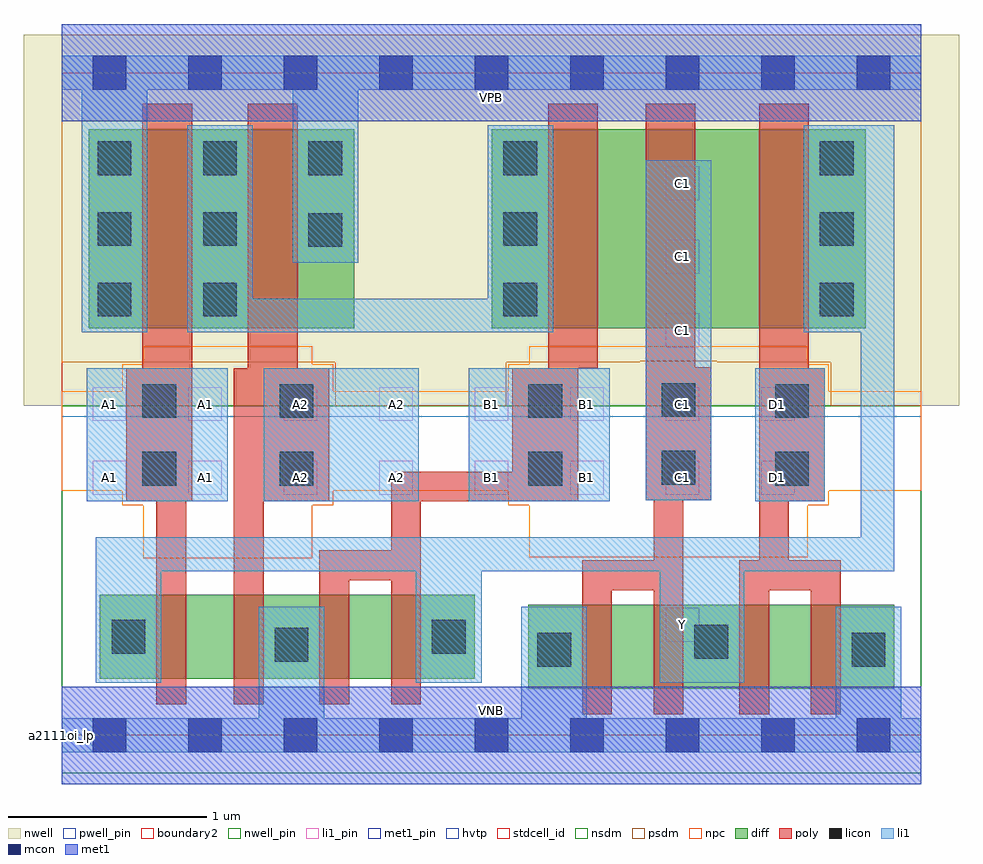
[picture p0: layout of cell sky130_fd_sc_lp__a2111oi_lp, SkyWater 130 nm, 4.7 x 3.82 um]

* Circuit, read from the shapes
.subckt sky130_fd_sc_lp__a2111oi_lp A1 A2 B1 C1 D1 VGND VNB VPB VPWR Y
XM1 n1 A1 Y VNB sky130_fd_pr__nfet_01v8 w=0.42 l=0.15
XM2 VGND A2 n1 VNB sky130_fd_pr__nfet_01v8 w=0.42 l=0.15
XM3 n2 B1 VGND VNB sky130_fd_pr__nfet_01v8 w=0.42 l=0.15
XM4 Y B1 n2 VNB sky130_fd_pr__nfet_01v8 w=0.42 l=0.15
XM5 n3 C1 VGND VNB sky130_fd_pr__nfet_01v8 w=0.42 l=0.15
XM6 Y C1 n3 VNB sky130_fd_pr__nfet_01v8 w=0.42 l=0.15
XM7 n4 D1 Y VNB sky130_fd_pr__nfet_01v8 w=0.42 l=0.15
XM8 VGND D1 n4 VNB sky130_fd_pr__nfet_01v8 w=0.42 l=0.15
XM9 n5 A1 VPWR VPB sky130_fd_pr__pfet_01v8_hvt w=1 l=0.25
XM10 VPWR A2 n5 VPB sky130_fd_pr__pfet_01v8_hvt w=1 l=0.25
XM11 n6 B1 n5 VPB sky130_fd_pr__pfet_01v8_hvt w=1 l=0.25
XM12 n7 C1 n6 VPB sky130_fd_pr__pfet_01v8_hvt w=1 l=0.25
XM13 Y D1 n7 VPB sky130_fd_pr__pfet_01v8_hvt w=1 l=0.25
.ends

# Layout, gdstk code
import gdstk
lib = gdstk.Library(unit=1e-6, precision=1e-09)
def R(c, l, rs):  # rectangles x0, y0, x1, y1
    for r in rs: c.add(gdstk.rectangle(r[:2], r[2:], *l))
def A(c, l, x, y, w, h, nx, ny, dx, dy):  # array of equal rectangles
    R(c, l, [(x+i*dx, y+j*dy, x+i*dx+w, y+j*dy+h) for i in range(nx) for j in range(ny)])
def P(c, l, *ps):  # polygons
    for p in ps: c.add(gdstk.Polygon(p, *l))
nwell_pin = (64, 16)
nwell = (64, 20)
diff = (65, 20)
poly = (66, 20)
licon = (66, 44)
li1_pin = (67, 16)
li1 = (67, 20)
mcon = (67, 44)
met1_pin = (68, 16)
met1 = (68, 20)
hvtp = (78, 44)
stdcell_id = (81, 4)
nsdm = (93, 44)
psdm = (94, 20)
npc = (95, 20)
pwell_pin = (122, 16)
boundary2 = (236, 0)

sky130_fd_sc_lp__a2111oi = lib.new_cell('sky130_fd_sc_lp__a2111oi_lp')
R(sky130_fd_sc_lp__a2111oi, nwell_pin, [(0,3.085,4.32,3.33)])
R(sky130_fd_sc_lp__a2111oi, nwell, [(-0.19,1.655,4.51,3.52)])
R(sky130_fd_sc_lp__a2111oi, diff, [(2.345,0.235,4.185,0.655), (0.19,0.285,2.075,0.705), (0.135,2.045,1.47,3.045), (2.16,2.045,4.04,3.045)])
P(sky130_fd_sc_lp__a2111oi, poly, [(0.655,3.175),(0.405,3.175),(0.405,1.845),(0.325,1.845),(0.325,1.175),(0.475,1.175),(0.475,0.155),(0.625,0.155),(0.625,1.175),(0.655,1.175)],
  [(1.345,1.845),(1.185,1.845),(1.185,3.175),(0.935,3.175),(0.935,1.845),(0.865,1.845),(0.865,0.155),(1.015,0.155),(1.015,1.175),(1.345,1.175)],
  [(2.695,3.175),(2.445,3.175),(2.445,1.845),(2.265,1.845),(2.265,1.325),(1.655,1.325),(1.655,0.93),(1.295,0.93),(1.295,0.155),(1.445,0.155),(1.445,0.78),(1.655,0.78),(1.655,0.155),(1.805,0.155),(1.805,1.175),(2.595,1.175),(2.595,1.845),(2.695,1.845)],
  [(3.265,1.85),(3.185,1.85),(3.185,3.175),(2.935,3.175),(2.935,1.18),(2.975,1.18),(2.975,0.88),(2.615,0.88),(2.615,0.105),(2.765,0.105),(2.765,0.73),(2.975,0.73),(2.975,0.105),(3.125,0.105),(3.125,1.18),(3.265,1.18)],
  [(3.915,0.88),(3.655,0.88),(3.655,1.175),(3.835,1.175),(3.835,1.845),(3.755,1.845),(3.755,3.175),(3.505,3.175),(3.505,0.88),(3.405,0.88),(3.405,0.105),(3.555,0.105),(3.555,0.73),(3.765,0.73),(3.765,0.105),(3.915,0.105)])
A(sky130_fd_sc_lp__a2111oi, licon, 2.22, 2.105, 0.17, 0.17, 1, 3, 0, 0.355)
A(sky130_fd_sc_lp__a2111oi, licon, 3.81, 2.105, 0.17, 0.17, 1, 3, 0, 0.355)
A(sky130_fd_sc_lp__a2111oi, licon, 0.18, 2.815, 0.17, 0.17, 3, 1, 0.53, 0)
R(sky130_fd_sc_lp__a2111oi, licon, [(2.39,0.345,2.56,0.515), (3.97,0.345,4.14,0.515), (1.07,0.37,1.24,0.54), (3.18,0.385,3.35,0.555), (0.25,0.41,0.42,0.58), (1.86,0.41,2.03,0.58), (0.405,1.255,0.575,1.425), (1.095,1.255,1.265,1.425), (2.345,1.255,2.515,1.425), (3.585,1.255,3.755,1.425), (3.015,1.26,3.185,1.43), (0.405,1.595,0.575,1.765), (1.095,1.595,1.265,1.765), (2.345,1.595,2.515,1.765), (3.585,1.595,3.755,1.765), (3.015,1.6,3.185,1.77), (0.18,2.105,0.35,2.275), (0.71,2.105,0.88,2.275), (1.24,2.455,1.41,2.625), (0.18,2.46,0.35,2.63), (0.71,2.46,0.88,2.63)])
A(sky130_fd_sc_lp__a2111oi, li1_pin, 0.155, 1.21, 0.17, 0.17, 8, 2, 0.48, 0.37)
A(sky130_fd_sc_lp__a2111oi, li1_pin, 3.035, 1.95, 0.17, 0.17, 1, 3, 0, 0.37)
R(sky130_fd_sc_lp__a2111oi, li1_pin, [(3.035,0.47,3.205,0.64)])
R(sky130_fd_sc_lp__a2111oi, li1, [(0.125,1.175,0.835,1.845), (1.015,1.175,1.795,1.845), (2.045,1.175,2.755,1.845), (3.485,1.175,3.835,1.845), (2.935,1.18,3.265,2.89)])
P(sky130_fd_sc_lp__a2111oi, li1, [(0.1,2.025),(0.1,3.245),(0,3.245),(0,3.415),(4.32,3.415),(4.32,3.245),(1.49,3.245),(1.49,2.375),(1.16,2.375),(1.16,3.245),(0.43,3.245),(0.43,2.025)],
  [(0.99,0.085),(0.99,0.645),(1.32,0.645),(1.32,0.085),(2.31,0.085),(2.31,0.645),(2.64,0.645),(2.64,0.085),(3.89,0.085),(3.89,0.645),(4.22,0.645),(4.22,0.085),(4.32,0.085),(4.32,-0.085),(0,-0.085),(0,0.085)],
  [(1.78,0.265),(1.78,0.825),(0.5,0.825),(0.5,0.265),(0.17,0.265),(0.17,0.995),(4.015,0.995),(4.015,2.025),(3.73,2.025),(3.73,3.065),(4.185,3.065),(4.185,0.825),(3.43,0.825),(3.43,0.265),(3.005,0.265),(3.005,0.825),(2.11,0.825),(2.11,0.265)],
  [(2.14,2.195),(2.14,3.065),(2.47,3.065),(2.47,2.025),(0.63,2.025),(0.63,3.065),(0.96,3.065),(0.96,2.195)])
A(sky130_fd_sc_lp__a2111oi, mcon, 0.155, -0.085, 0.17, 0.17, 9, 2, 0.48, 3.33)
R(sky130_fd_sc_lp__a2111oi, met1_pin, [(0,0,4.32,0.245), (0,3.085,4.32,3.33)])
R(sky130_fd_sc_lp__a2111oi, met1, [(0,-0.245,4.32,0.245), (0,3.085,4.32,3.575)])
R(sky130_fd_sc_lp__a2111oi, hvtp, [(0,1.6,4.32,3.33)])
R(sky130_fd_sc_lp__a2111oi, stdcell_id, [(0,0,4.32,3.33)])
R(sky130_fd_sc_lp__a2111oi, nsdm, [(0,-0.19,4.32,1.655)])
P(sky130_fd_sc_lp__a2111oi, psdm, [(4.32,3.52),(0,3.52),(0,1.875),(1.375,1.875),(1.375,1.655),(2.235,1.655),(2.235,1.875),(2.905,1.875),(2.905,1.88),(3.295,1.88),(3.295,1.875),(3.865,1.875),(3.865,1.655),(4.32,1.655)])
P(sky130_fd_sc_lp__a2111oi, npc, [(4.32,1.73),(3.855,1.73),(3.855,1.865),(3.75,1.865),(3.75,1.955),(2.35,1.955),(2.35,1.865),(2.245,1.865),(2.245,1.73),(1.365,1.73),(1.365,1.865),(1.26,1.865),(1.26,1.955),(0.41,1.955),(0.41,1.865),(0.305,1.865),(0.305,1.73),(0,1.73),(0,1.23),(0.305,1.23),(0.305,1.155),(0.41,1.155),(0.41,0.89),(1.26,0.89),(1.26,1.155),(1.365,1.155),(1.365,1.23),(2.245,1.23),(2.245,1.155),(2.35,1.155),(2.35,0.895),(3.75,0.895),(3.75,1.155),(3.855,1.155),(3.855,1.23),(4.32,1.23)])
R(sky130_fd_sc_lp__a2111oi, pwell_pin, [(0,0,4.32,0.245)])
R(sky130_fd_sc_lp__a2111oi, boundary2, [(0,0,4.32,3.33)])
sky130_fd_sc_lp__a2111oi.add(gdstk.Label('VNB', (2.16,0.123), layer=64, texttype=59))
sky130_fd_sc_lp__a2111oi.add(gdstk.Label('VPB', (2.16,3.208), layer=64, texttype=5))
sky130_fd_sc_lp__a2111oi.add(gdstk.Label('a2111oi_lp', (0,0), layer=83, texttype=44))
sky130_fd_sc_lp__a2111oi.add(gdstk.Label('VPWR', (2.16,3.208), layer=68, texttype=5))
sky130_fd_sc_lp__a2111oi.add(gdstk.Label('VGND', (2.16,0.123), layer=68, texttype=5))
sky130_fd_sc_lp__a2111oi.add(gdstk.Label('D1', (3.6,1.295), layer=67, texttype=5))
sky130_fd_sc_lp__a2111oi.add(gdstk.Label('D1', (3.6,1.665), layer=67, texttype=5))
sky130_fd_sc_lp__a2111oi.add(gdstk.Label('C1', (3.12,1.295), layer=67, texttype=5))
sky130_fd_sc_lp__a2111oi.add(gdstk.Label('C1', (3.12,1.665), layer=67, texttype=5))
sky130_fd_sc_lp__a2111oi.add(gdstk.Label('C1', (3.12,2.035), layer=67, texttype=5))
sky130_fd_sc_lp__a2111oi.add(gdstk.Label('C1', (3.12,2.405), layer=67, texttype=5))
sky130_fd_sc_lp__a2111oi.add(gdstk.Label('C1', (3.12,2.775), layer=67, texttype=5))
sky130_fd_sc_lp__a2111oi.add(gdstk.Label('B1', (2.16,1.295), layer=67, texttype=5))
sky130_fd_sc_lp__a2111oi.add(gdstk.Label('B1', (2.16,1.665), layer=67, texttype=5))
sky130_fd_sc_lp__a2111oi.add(gdstk.Label('B1', (2.64,1.295), layer=67, texttype=5))
sky130_fd_sc_lp__a2111oi.add(gdstk.Label('B1', (2.64,1.665), layer=67, texttype=5))
sky130_fd_sc_lp__a2111oi.add(gdstk.Label('A2', (1.2,1.295), layer=67, texttype=5))
sky130_fd_sc_lp__a2111oi.add(gdstk.Label('A2', (1.2,1.665), layer=67, texttype=5))
sky130_fd_sc_lp__a2111oi.add(gdstk.Label('A2', (1.68,1.295), layer=67, texttype=5))
sky130_fd_sc_lp__a2111oi.add(gdstk.Label('A2', (1.68,1.665), layer=67, texttype=5))
sky130_fd_sc_lp__a2111oi.add(gdstk.Label('A1', (0.24,1.295), layer=67, texttype=5))
sky130_fd_sc_lp__a2111oi.add(gdstk.Label('A1', (0.24,1.665), layer=67, texttype=5))
sky130_fd_sc_lp__a2111oi.add(gdstk.Label('A1', (0.72,1.295), layer=67, texttype=5))
sky130_fd_sc_lp__a2111oi.add(gdstk.Label('A1', (0.72,1.665), layer=67, texttype=5))
sky130_fd_sc_lp__a2111oi.add(gdstk.Label('Y', (3.12,0.555), layer=67, texttype=5))

lib.write_gds('sky130_fd_sc_lp__a2111oi_lp.gds')
